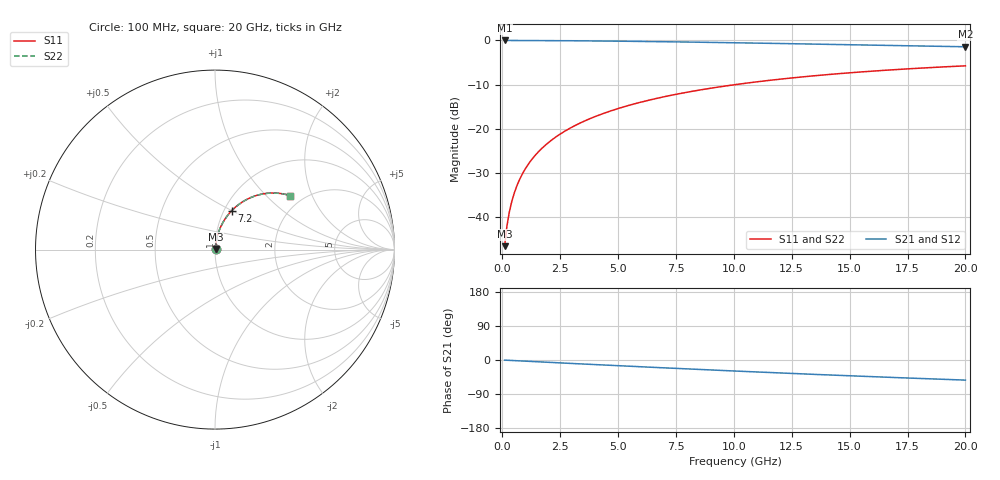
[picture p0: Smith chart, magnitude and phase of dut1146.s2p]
! Touchstone file exported from HFSS 2026.1.0
!  File:  C:/ffzhzh/LocalFiles/Ansys_Project_Files/temp_train_BSMRDL_1146_1783175541_43440.aedt
!  Generated:  10:33:54 PM Jul  4, 2026
!  Design:  BSMRDL
!  Project:  temp_train_BSMRDL_1146_1783175541_43440
! Variables:
!  h_bsmrdl = 4.87um
!  h_ox = 20um
!  h_rdl = 5um
!  h_sub = 80um
!  h_tmrdl = 5um
!  h_tsv = 80um
!  h_via = 3um
!  l_bsmrdl = 773.11um
!  l_sub = 1173.11um
!  l_tmrdl = 200um
!  m_sub = 200um
!  pitch = 59.43um
!  r_tsv = 6um
!  s_tmrdl = 10um
!  w_bsmrdl = 20.34um
!  w_sub = 500um
!  w_tmrdl = 12um
!  x_tsv_center1 = 206um
!  x_tsv_center2 = 999.45um
!  x_tsv_center3 = 1211.45um
!  x_tsv_center4 = 2004.9um
!  x_tsv_center5 = 2216.9um
!  x_tsv_center6 = 3010.35um
# GHz S MA R 50.000000
! Terminal data exported
! Port[1] = BSM_RDL1_1_T1
! Port[2] = BSM_RDL1_1_T2
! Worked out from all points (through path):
!   200 points, 100 MHz to 20 GHz, reference 50 ohm
!   highest |S21| = -0.03 dB at 100 MHz (marker M1); lowest = -1.5 dB at 20 GHz (marker M2)
!   group delay of S21, straight-line fit = 7.38 ps
!   lowest |S11| = -46.5 dB at 100 MHz (marker M3), VSWR 1.01, Z = 50.3 + j0.373 ohm
!   |S11| at or under -10 dB: start of sweep to 10.07 GHz
!   |S22| runs from -46.5 to -5.8 dB; largest |S21 - S12| = 8.2e-15
!   S11 on the Smith chart (normalised r, x): 100 MHz: 1.01, +0.01; 7.2 GHz: 1.09, +0.50; 20 GHz: 1.71, +1.40
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0.1  0.004718 51.8  0.9971 -0.3  0.9971 -0.3  0.004718 51.8
! Gamma 0 0 0 0
! Port Impedance 50 0 50 0
0.2  0.007951 66.9  0.9969 -0.6  0.9969 -0.6  0.007951 66.9
0.3  0.01134 72.8  0.9968 -0.9  0.9968 -0.9  0.01134 72.8
0.4  0.01476 75.9  0.9966 -1.2  0.9966 -1.2  0.01476 75.9
0.5  0.0182 77.8  0.9965 -1.6  0.9965 -1.6  0.0182 77.8
0.7  0.02512 79.9  0.9962 -2.2  0.9962 -2.2  0.02512 79.9
0.8  0.02859 80.5  0.9961 -2.5  0.9961 -2.5  0.02859 80.5
1  0.03554 81.1  0.9958 -3.1  0.9958 -3.1  0.03554 81.1
1.4  0.04944 81.2  0.9949 -4.3  0.9949 -4.3  0.04944 81.2
1.7  0.05983 80.9  0.9942 -5.2  0.9942 -5.2  0.05983 80.9
2  0.07017 80.4  0.9933 -6.1  0.9933 -6.1  0.07017 80.4
2.7  0.09406 78.8  0.9908 -8.2  0.9908 -8.2  0.09406 78.8
3.5  0.1209 76.8  0.9872 -10.6  0.9872 -10.6  0.1209 76.7
4.2  0.1438 74.9  0.9835 -12.7  0.9835 -12.7  0.1438 74.9
5  0.1695 72.7  0.9787 -15.0  0.9787 -15.0  0.1695 72.7
6.8  0.2248 67.8  0.9663 -20.2  0.9663 -20.2  0.2248 67.7
7.2  0.2367 66.7  0.9633 -21.3  0.9633 -21.3  0.2367 66.7
8.6  0.2767 62.9  0.9519 -25.2  0.9519 -25.2  0.2767 62.9
10.1  0.317 59.0  0.9388 -29.2  0.9388 -29.2  0.317 59.0
13.4  0.3962 50.8  0.9077 -37.7  0.9077 -37.7  0.3962 50.7
16.7  0.462 43.0  0.876 -45.7  0.876 -45.7  0.462 43.0
20  0.5151 35.8  0.8461 -53.1  0.8461 -53.1  0.5151 35.7
